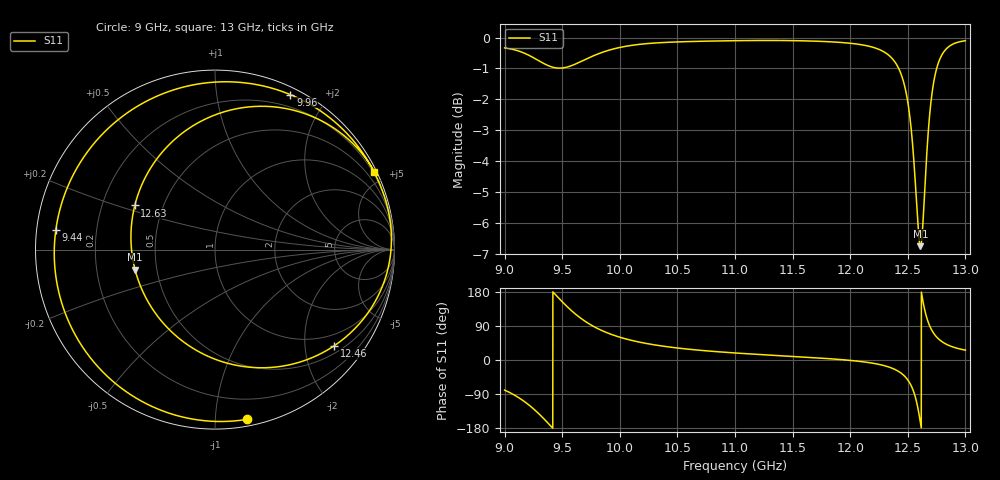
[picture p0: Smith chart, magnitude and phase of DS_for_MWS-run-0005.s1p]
! TOUCHSTONE file generated by CST DESIGN STUDIO
! Date and time: Tue Feb  4 17:33:40 2025
! Project name: C:\Work\MatlabApps\UnitCellOptimizationMatlab\CST\unitcell.cst
! Tree item: Tasks\Sweep1\SPara1\S-Parameters
! Header version: 2024
! Port assignment regex: !\s*Touchstone port\s*([0-9]+)\s*=\s*(CST MWS port|CST DES external port|CST DES block port)\s*(.+)\s* \(\"(.*)\"\)(\s*mode\s*([0-9]+))?.*
! Touchstone port assignment:
! Touchstone port 1 = CST DES external port 1 ("")
# GHz S MA R 50
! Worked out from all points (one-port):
!   4001 points, 9 GHz to 13 GHz, reference 50 ohm
!   lowest |S11| = -6.8 dB at 12.61 GHz (marker M1), VSWR 2.70, Z = 18.8 - j5.34 ohm
!   |S11| at or under -10 dB: nowhere
!   S11 on the Smith chart (normalised r, x): 9 GHz: 0.05, -1.20; 9.44 GHz: 0.06, +0.06; 9.96 GHz: 0.07, +1.60; 12.46 GHz: 0.68, -2.68; 12.63 GHz: 0.34, +0.23; 13 GHz: 0.12, +4.33
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9  0.9625 -79.5
9.127  0.9506 -100.3
9.227  0.9329 -122.7
9.345  0.907 -156.4
9.44  0.8936 172.9
9.5  0.8928 153.7
9.592  0.9024 127.1
9.688  0.9194 104.4
9.822  0.9427 80.9
9.96  0.9602 64.0
10  0.964 60.2
10.215  0.9771 44.5
10.5  0.9841 31.7
11  0.9886 18.6
11.5  0.9889 9.4
12  0.9792 -1.0
12.314  0.9428 -16.4
12.459  0.8534 -38.9
12.5  0.7864 -52.7
12.561  0.5989 -92.9
12.585  0.5064 -122.7
12.61  0.4592 -165.9
12.634  0.5101 151.1
12.673  0.6845 103.5
12.717  0.8293 74.1
12.764  0.9084 56.4
12.821  0.9528 43.8
13  0.9884 26.0
